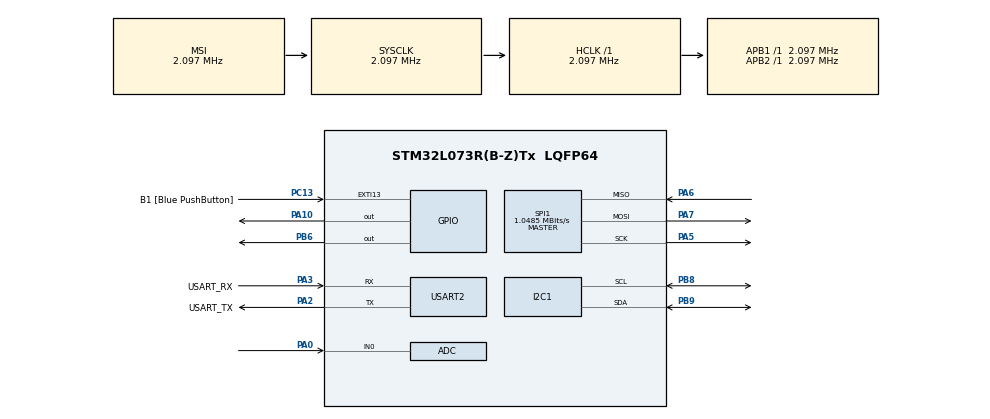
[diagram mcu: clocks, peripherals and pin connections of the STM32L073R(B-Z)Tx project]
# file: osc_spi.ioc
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Mcu.Family=STM32L0
Mcu.Name=STM32L073R(B-Z)Tx
Mcu.Package=LQFP64
PA0.Mode=IN0
PA0.Signal=ADC_IN0
PA10.Signal=GPIO_Output
PA13.GPIO_Label=TMS
PA13.Mode=Serial_Wire
PA13.Signal=SYS_SWDIO
PA14.GPIO_Label=TCK
PA14.Mode=Serial_Wire
PA14.Signal=SYS_SWCLK
PA2.GPIO_Label=USART_TX
PA2.Mode=Asynchronous
PA2.Signal=USART2_TX
PA3.GPIO_Label=USART_RX
PA3.Mode=Asynchronous
PA3.Signal=USART2_RX
PA5.Mode=Full_Duplex_Master
PA5.Signal=SPI1_SCK
PA6.Mode=Full_Duplex_Master
PA6.Signal=SPI1_MISO
PA7.Mode=Full_Duplex_Master
PA7.Signal=SPI1_MOSI
PB6.Signal=GPIO_Output
PB8.Mode=I2C
PB8.Signal=I2C1_SCL
PB9.Mode=I2C
PB9.Signal=I2C1_SDA
PC13.GPIO_Label=B1 [Blue PushButton]
PC13.GPIO_ModeDefaultEXTI=GPIO_MODE_IT_FALLING
PC13.Signal=GPXTI13
PC14-OSC32_IN.Mode=LSE-External-Oscillator
PC14-OSC32_IN.Signal=RCC_OSC32_IN
PC15-OSC32_OUT.Mode=LSE-External-Oscillator
PC15-OSC32_OUT.Signal=RCC_OSC32_OUT
PH0-OSC_IN.GPIO_Label=MCO
PH0-OSC_IN.Mode=HSE-External-Clock-Source
PH0-OSC_IN.Signal=RCC_OSC_IN
ProjectManager.HeapSize=0x200
ProjectManager.StackSize=0x400
ProjectManager.TargetToolchain=STM32CubeIDE
RCC.AHBFreq_Value=2097000
RCC.APB1Freq_Value=2097000
RCC.APB1TimFreq_Value=2097000
RCC.APB2Freq_Value=2097000
RCC.APB2TimFreq_Value=2097000
RCC.HSE_VALUE=8000000
RCC.HSI16_VALUE=16000000
RCC.HSI48_VALUE=48000000
RCC.HSI_VALUE=16000000
RCC.MSI_VALUE=2097000
RCC.SYSCLKFreq_VALUE=2097000
RCC.VCOOutputFreq_Value=48000000
SPI1.BaudRatePrescaler=SPI_BAUDRATEPRESCALER_2
SPI1.CLKPhase=SPI_PHASE_1EDGE
SPI1.CLKPolarity=SPI_POLARITY_LOW
SPI1.CalculateBaudRate=1.0485 MBits/s
SPI1.Direction=SPI_DIRECTION_2LINES
SPI1.Mode=SPI_MODE_MASTER
SPI1.VirtualType=VM_MASTER
USART2.Parity=PARITY_NONE
USART2.VirtualMode-Asynchronous=VM_ASYNC
USART2.WordLength=WORDLENGTH_8B
board=NUCLEO-L073RZ

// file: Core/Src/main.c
/* USER CODE BEGIN Header */
/**
  ******************************************************************************
  * @file           : main.c
  * @brief          : Main program body
  ******************************************************************************
  * @attention
  *
  * Copyright (c) 2022 STMicroelectronics.
  * All rights reserved.
  *
  * This software is licensed under terms that can be found in the LICENSE file
  * in the root directory of this software component.
  * If no LICENSE file comes with this software, it is provided AS-IS.
  *
  ******************************************************************************
  */
/* USER CODE END Header */
#include "main.h"

/* USER CODE BEGIN Includes */
#include <stdio.h>
#include <stdlib.h>
#include <string.h>
/* USER CODE END Includes */

/* USER CODE BEGIN PM */

// Functions for the Oscillator
void osc_write_to_register(uint8_t REG, uint8_t VAL);	// Writes given value to given register
void osc_read_register(uint8_t REG, char NAME[20]);		// Reads contents from the given register
void osc_init();										// Initializes the oscillator's registers
void osc_config_reg_values(uint16_t ND);				// Configures oscillator values for the ADC sweep
void osc_print_register_contents();						// Print contents/values of all the registers

// Functions for ToF
int ToF_distance(uint8_t *i2c_buf);
int ToF_temperature(uint8_t *i2c_buf);

// Functions for the ADC
uint16_t ADC_output();
float ADC_voltage(uint16_t adc_value);
void ADC_print_output(uint16_t adc_value, float adc_voltage);
void ADC_print_sweep(int *adc_value, float *adc_voltage, int num_bins, uint16_t N, float f, float RSBW);

/* USER CODE END PM */

ADC_HandleTypeDef hadc;

I2C_HandleTypeDef hi2c1;

SPI_HandleTypeDef hspi1;

UART_HandleTypeDef huart2;

/* USER CODE BEGIN PV */

/* Global Constants ----------------------------------------------------------*/

// For ADC
char raw_adc_str[20];		// string printed to Serial to see ADC values

// For SPI
char spi_buf[20];			// SPI buffer

// For UART Transmit/Receive
char uart_buf[50];			// UART Buffer
int uart_buf_len;			// Stores UART buffer length

// For ToF
const uint8_t TFmini_ADDR_W = 0x10 << 1;
const uint8_t TFmini_ADDR_R = 0b00100001;
const uint8_t REG_DISTANCE = 0xDB;
const uint8_t TOF_REQ_FRAME[5] = {0x5A,0x05,0x00,0x01,0x60};   // I2C CM command

/* Oscillator Register Globals */

// Read Addresses
const uint8_t R_REG0 = 0b00000001;
const uint8_t R_REG1 = 0b00000011;
const uint8_t R_REG2 = 0b00000101;
const uint8_t R_REG3 = 0b00000111;
const uint8_t R_REG4 = 0b00001001;
const uint8_t R_REG5 = 0b00001011;
const uint8_t R_REG6 = 0b00001101;
const uint8_t R_REG7 = 0b00001111;
const uint8_t R_REG8 = 0b00010001;
const uint8_t R_REG9 = 0b00010011;
const uint8_t R_REGA = 0b00010101;
const uint8_t R_REGB = 0b00010111;
const uint8_t R_REGC = 0b00011001;
const uint8_t R_REGD = 0b00011011;
const uint8_t R_REGE = 0b00011111;

// Write Addresses
const uint8_t W_REG0 = 0b00000000;
const uint8_t W_REG1 = 0b00000010;
const uint8_t W_REG2 = 0b00000100;
const uint8_t W_REG3 = 0b00000110;
const uint8_t W_REG4 = 0b00001000;
const uint8_t W_REG5 = 0b00001010;
const uint8_t W_REG6 = 0b00001100;
const uint8_t W_REG7 = 0b00001110;
const uint8_t W_REG8 = 0b00010000;
const uint8_t W_REG9 = 0b00010010;
const uint8_t W_REGA = 0b00010100;
const uint8_t W_REGB = 0b00010110;
const uint8_t W_REGC = 0b00011000;
const uint8_t W_REGD = 0b00011010;
const uint8_t W_REGE = 0b00011110;

// Register Values
const uint8_t VAL_REG1 = 0x04;
const uint8_t VAL_REG2 = 0x04;
const uint8_t VAL_REG3 = 0x3F;
const uint8_t VAL_REG4 = 0x57;
const uint8_t VAL_REG5 = 0x11;
const uint8_t VAL_REG6 = 96;
const uint8_t VAL_REG7 = 80;
const uint8_t VAL_REG8 = 0x3F;
const uint8_t VAL_REG9 = 0xFF;
const uint8_t VAL_REGA = 0xF0;
const uint8_t VAL_REGB = 0x1A;
const uint8_t VAL_REGC = 0b10111111;
const uint8_t VAL_REGD = 0b00000000;

/* USER CODE END PV */

void SystemClock_Config(void);
static void MX_GPIO_Init(void);
static void MX_USART2_UART_Init(void);
static void MX_SPI1_Init(void);
static void MX_ADC_Init(void);
static void MX_I2C1_Init(void);

int main(void)
{
  /* USER CODE BEGIN 1 */
	uint8_t i2c_buf[12];
  /* USER CODE END 1 */

  /* MCU Configuration--------------------------------------------------------*/

  /* Reset of all peripherals, Initializes the Flash interface and the Systick. */
  HAL_Init();

  /* USER CODE BEGIN Init */

  for(int i=0; i<20; i++)
  {
	  spi_buf[i] = 'a';
  }
  /* USER CODE END Init */

  /* Configure the system clock */
  SystemClock_Config();

  /* Initialize all configured peripherals */
  MX_GPIO_Init();
  MX_USART2_UART_Init();
  MX_SPI1_Init();
  MX_ADC_Init();
  MX_I2C1_Init();
  /* USER CODE BEGIN 2 */

  /* BEGIN OSCILLATOR SECTION -----------------------------------------------------*/

//  uart_buf_len = sprintf(uart_buf, "/* Oscillator Code ---------*/ \r\n");
//  HAL_UART_Transmit(&huart2, (uint8_t *)uart_buf, uart_buf_len, 100);

  // Set oscillator initial values
  osc_init();

  // Read register values
  osc_print_register_contents();

  // HAL_UART_Transmit(&huart2, (uint8_t *)uart_buf, uart_buf_len, 100);

  /* END OSCILLATOR SECTION -----------------------------------------------------*/

  /* USER CODE END 2 */

  /* Infinite loop */
  /* USER CODE BEGIN WHILE */

  /* BEGIN ADC SECTION ---------------------------------------------------------*/

//  uart_buf_len = sprintf(uart_buf, "/* ADC Code ---------*/ \r\n");
//  HAL_UART_Transmit(&huart2, (uint8_t *)uart_buf, uart_buf_len, 100);

  int num_bins = 36; 						// Number of bins or "chunks"
  uint16_t N = 494;							// Value of ND[]
  int num_samples = 100; 					// Number of ADC samples
  int adc_value = 0;						// Output of the 12-bit ADC (range: 0 to 4095)
  int data_buffer_size = num_bins + 3;
  int data_buffer[data_buffer_size]; 		// Average of ADC Readings

  // Initialize arrays
  for (int i=0; i<data_buffer_size; i++)
  {
	  data_buffer[i] = (i==0)? -2 : 0;
     // -2 is the identifier bit which tells the receiver over serial that (...)
     // the beginning of the data buffer is being transmitter
  }

  // Calibrate ADC
  while(HAL_ADCEx_Calibration_Start(&hadc, ADC_SINGLE_ENDED) != HAL_OK);

  while (1)
  {
    /* USER CODE END WHILE */

    /* USER CODE BEGIN 3 */

	  /*** Get distance from ToF ***/
	  data_buffer[1] = ToF_distance(i2c_buf);
	  data_buffer[2] = ToF_temperature(i2c_buf);

	  /*** Sweep the Oscillator ***/
	  N = 494;

	  // Sweep the Oscillator
	  for (int i=3; i<data_buffer_size; i++)
	  {
		  osc_config_reg_values(N);
		  adc_value = 0;
		  HAL_Delay(1);

		  // Take samples and get the average
	      for (int k=0; k<num_samples; k++)
	      {
	      	 adc_value += (int)ADC_output();
	      }

	      data_buffer[i] = adc_value/num_samples;
	      N += 1;
	  }

	  // Print ADC swept values
	  for (int k=0; k<data_buffer_size; k++)
	  {
		  sprintf(raw_adc_str, "%i\r\n", data_buffer[k]);
		  HAL_UART_Transmit(&huart2, (uint8_t *)raw_adc_str, strlen(raw_adc_str), 100);
	  }

	  // This is just a delay so that the serial monitor does not move too fast
	  // This delay should be deleted later on, after testing
	  // ** When using the scope, make the delay small, like 1 or 10
	  // HAL_Delay(1000);
  }
  /* USER CODE END 3 */
}

void SystemClock_Config(void)
{
  RCC_OscInitTypeDef RCC_OscInitStruct = {0};
  RCC_ClkInitTypeDef RCC_ClkInitStruct = {0};
  RCC_PeriphCLKInitTypeDef PeriphClkInit = {0};

  /** Configure the main internal regulator output voltage
  */
  __HAL_PWR_VOLTAGESCALING_CONFIG(PWR_REGULATOR_VOLTAGE_SCALE1);

  /** Initializes the RCC Oscillators according to the specified parameters
  * in the RCC_OscInitTypeDef structure.
  */
  RCC_OscInitStruct.OscillatorType = RCC_OSCILLATORTYPE_MSI;
  RCC_OscInitStruct.MSIState = RCC_MSI_ON;
  RCC_OscInitStruct.MSICalibrationValue = 0;
  RCC_OscInitStruct.MSIClockRange = RCC_MSIRANGE_5;
  RCC_OscInitStruct.PLL.PLLState = RCC_PLL_NONE;
  if (HAL_RCC_OscConfig(&RCC_OscInitStruct) != HAL_OK)
  {
    Error_Handler();
  }

  /** Initializes the CPU, AHB and APB buses clocks
  */
  RCC_ClkInitStruct.ClockType = RCC_CLOCKTYPE_HCLK|RCC_CLOCKTYPE_SYSCLK
                              |RCC_CLOCKTYPE_PCLK1|RCC_CLOCKTYPE_PCLK2;
  RCC_ClkInitStruct.SYSCLKSource = RCC_SYSCLKSOURCE_MSI;
  RCC_ClkInitStruct.AHBCLKDivider = RCC_SYSCLK_DIV1;
  RCC_ClkInitStruct.APB1CLKDivider = RCC_HCLK_DIV1;
  RCC_ClkInitStruct.APB2CLKDivider = RCC_HCLK_DIV1;

  if (HAL_RCC_ClockConfig(&RCC_ClkInitStruct, FLASH_LATENCY_0) != HAL_OK)
  {
    Error_Handler();
  }
  PeriphClkInit.PeriphClockSelection = RCC_PERIPHCLK_USART2|RCC_PERIPHCLK_I2C1;
  PeriphClkInit.Usart2ClockSelection = RCC_USART2CLKSOURCE_PCLK1;
  PeriphClkInit.I2c1ClockSelection = RCC_I2C1CLKSOURCE_PCLK1;
  if (HAL_RCCEx_PeriphCLKConfig(&PeriphClkInit) != HAL_OK)
  {
    Error_Handler();
  }
}

static void MX_ADC_Init(void)
{

  ADC_ChannelConfTypeDef sConfig = {0};

  /** Configure the global features of the ADC (Clock, Resolution, Data Alignment and number of conversion)
  */
  hadc.Instance = ADC1;
  hadc.Init.OversamplingMode = DISABLE;
  hadc.Init.ClockPrescaler = ADC_CLOCK_SYNC_PCLK_DIV1;
  hadc.Init.Resolution = ADC_RESOLUTION_12B;
  hadc.Init.SamplingTime = ADC_SAMPLETIME_1CYCLE_5;
  hadc.Init.ScanConvMode = ADC_SCAN_DIRECTION_FORWARD;
  hadc.Init.DataAlign = ADC_DATAALIGN_RIGHT;
  hadc.Init.ContinuousConvMode = DISABLE;
  hadc.Init.DiscontinuousConvMode = DISABLE;
  hadc.Init.ExternalTrigConvEdge = ADC_EXTERNALTRIGCONVEDGE_NONE;
  hadc.Init.ExternalTrigConv = ADC_SOFTWARE_START;
  hadc.Init.DMAContinuousRequests = DISABLE;
  hadc.Init.EOCSelection = ADC_EOC_SINGLE_CONV;
  hadc.Init.Overrun = ADC_OVR_DATA_PRESERVED;
  hadc.Init.LowPowerAutoWait = DISABLE;
  hadc.Init.LowPowerFrequencyMode = ENABLE;
  hadc.Init.LowPowerAutoPowerOff = DISABLE;
  if (HAL_ADC_Init(&hadc) != HAL_OK)
  {
    Error_Handler();
  }

  /** Configure for the selected ADC regular channel to be converted.
  */
  sConfig.Channel = ADC_CHANNEL_0;
  sConfig.Rank = ADC_RANK_CHANNEL_NUMBER;
  if (HAL_ADC_ConfigChannel(&hadc, &sConfig) != HAL_OK)
  {
    Error_Handler();
  }

}

static void MX_I2C1_Init(void)
{

  hi2c1.Instance = I2C1;
  hi2c1.Init.Timing = 0x00000708;
  hi2c1.Init.OwnAddress1 = 0;
  hi2c1.Init.AddressingMode = I2C_ADDRESSINGMODE_7BIT;
  hi2c1.Init.DualAddressMode = I2C_DUALADDRESS_DISABLE;
  hi2c1.Init.OwnAddress2 = 0;
  hi2c1.Init.OwnAddress2Masks = I2C_OA2_NOMASK;
  hi2c1.Init.GeneralCallMode = I2C_GENERALCALL_DISABLE;
  hi2c1.Init.NoStretchMode = I2C_NOSTRETCH_DISABLE;
  if (HAL_I2C_Init(&hi2c1) != HAL_OK)
  {
    Error_Handler();
  }

  /** Configure Analogue filter
  */
  if (HAL_I2CEx_ConfigAnalogFilter(&hi2c1, I2C_ANALOGFILTER_ENABLE) != HAL_OK)
  {
    Error_Handler();
  }

  /** Configure Digital filter
  */
  if (HAL_I2CEx_ConfigDigitalFilter(&hi2c1, 0) != HAL_OK)
  {
    Error_Handler();
  }

}

static void MX_SPI1_Init(void)
{

  /* SPI1 parameter configuration*/
  hspi1.Instance = SPI1;
  hspi1.Init.Mode = SPI_MODE_MASTER;
  hspi1.Init.Direction = SPI_DIRECTION_2LINES;
  hspi1.Init.DataSize = SPI_DATASIZE_8BIT;
  hspi1.Init.CLKPolarity = SPI_POLARITY_LOW;
  hspi1.Init.CLKPhase = SPI_PHASE_1EDGE;
  hspi1.Init.NSS = SPI_NSS_SOFT;
  hspi1.Init.BaudRatePrescaler = SPI_BAUDRATEPRESCALER_2;
  hspi1.Init.FirstBit = SPI_FIRSTBIT_MSB;
  hspi1.Init.TIMode = SPI_TIMODE_DISABLE;
  hspi1.Init.CRCCalculation = SPI_CRCCALCULATION_DISABLE;
  hspi1.Init.CRCPolynomial = 7;
  if (HAL_SPI_Init(&hspi1) != HAL_OK)
  {
    Error_Handler();
  }

}

static void MX_USART2_UART_Init(void)
{

  huart2.Instance = USART2;
  huart2.Init.BaudRate = 115200;
  huart2.Init.WordLength = UART_WORDLENGTH_8B;
  huart2.Init.StopBits = UART_STOPBITS_1;
  huart2.Init.Parity = UART_PARITY_NONE;
  huart2.Init.Mode = UART_MODE_TX_RX;
  huart2.Init.HwFlowCtl = UART_HWCONTROL_NONE;
  huart2.Init.OverSampling = UART_OVERSAMPLING_16;
  huart2.Init.OneBitSampling = UART_ONE_BIT_SAMPLE_DISABLE;
  huart2.AdvancedInit.AdvFeatureInit = UART_ADVFEATURE_NO_INIT;
  if (HAL_UART_Init(&huart2) != HAL_OK)
  {
    Error_Handler();
  }

}

static void MX_GPIO_Init(void)
{
  GPIO_InitTypeDef GPIO_InitStruct = {0};

  /* GPIO Ports Clock Enable */
  __HAL_RCC_GPIOC_CLK_ENABLE();
  __HAL_RCC_GPIOH_CLK_ENABLE();
  __HAL_RCC_GPIOA_CLK_ENABLE();
  __HAL_RCC_GPIOB_CLK_ENABLE();

  /*Configure GPIO pin Output Level */
  HAL_GPIO_WritePin(GPIOA, GPIO_PIN_10, GPIO_PIN_RESET);

  /*Configure GPIO pin Output Level */
  HAL_GPIO_WritePin(GPIOB, GPIO_PIN_6, GPIO_PIN_RESET);

  /*Configure GPIO pin : B1_Pin */
  GPIO_InitStruct.Pin = B1_Pin;
  GPIO_InitStruct.Mode = GPIO_MODE_IT_FALLING;
  GPIO_InitStruct.Pull = GPIO_NOPULL;
  HAL_GPIO_Init(B1_GPIO_Port, &GPIO_InitStruct);

  /*Configure GPIO pin : PA10 */
  GPIO_InitStruct.Pin = GPIO_PIN_10;
  GPIO_InitStruct.Mode = GPIO_MODE_OUTPUT_PP;
  GPIO_InitStruct.Pull = GPIO_NOPULL;
  GPIO_InitStruct.Speed = GPIO_SPEED_FREQ_LOW;
  HAL_GPIO_Init(GPIOA, &GPIO_InitStruct);

  /*Configure GPIO pin : PB6 */
  GPIO_InitStruct.Pin = GPIO_PIN_6;
  GPIO_InitStruct.Mode = GPIO_MODE_OUTPUT_PP;
  GPIO_InitStruct.Pull = GPIO_NOPULL;
  GPIO_InitStruct.Speed = GPIO_SPEED_FREQ_LOW;
  HAL_GPIO_Init(GPIOB, &GPIO_InitStruct);

}

/* USER CODE BEGIN 4 */

void osc_write_to_register(uint8_t REG, uint8_t VAL)
{
   /*
	*  This function writes VAL to the contents of REG
	*
	*/

	uint8_t tx_data[2];

	tx_data[0] = REG;
	tx_data[1] = VAL;

	HAL_GPIO_WritePin(GPIOB, GPIO_PIN_6, GPIO_PIN_RESET);
	HAL_SPI_Transmit(&hspi1, (uint8_t *)tx_data, 2, 100);
	HAL_GPIO_WritePin(GPIOB, GPIO_PIN_6, GPIO_PIN_SET);
}

void osc_read_register(uint8_t REG, char NAME[20])
{
   /*
	*  This function reads the contents of REG
	*
	*/

	uint8_t tx_data[2];
	uint8_t rx_data[2];

	tx_data[0] = REG;
	tx_data[1] = 0;
	rx_data[0] = 0;
	rx_data[1] = 0;

	HAL_GPIO_WritePin(GPIOB, GPIO_PIN_6, GPIO_PIN_RESET);
	HAL_SPI_TransmitReceive(&hspi1, (uint8_t *)tx_data, rx_data, 2, 100);
	HAL_GPIO_WritePin(GPIOB, GPIO_PIN_6, GPIO_PIN_SET);

	uart_buf_len = sprintf(uart_buf, "%s Value: 0x%02x\r\n", NAME, (unsigned int)rx_data[1]);
	HAL_UART_Transmit(&huart2, (uint8_t *)uart_buf, uart_buf_len, 100);
}

void osc_init()
{
   /*
	*  This function initializes the register values of the oscillator
	*
	*/

	HAL_GPIO_WritePin(GPIOB, GPIO_PIN_6, GPIO_PIN_SET); // Sets CS pin high

	osc_write_to_register(W_REG1, VAL_REG1);
	osc_write_to_register(W_REG2, VAL_REG2);
	osc_write_to_register(W_REG4, VAL_REG4);
	osc_write_to_register(W_REG5, VAL_REG5);
	osc_write_to_register(W_REG6, VAL_REG6);
	osc_write_to_register(W_REG7, VAL_REG7);
	osc_write_to_register(W_REG8, VAL_REG8);
	osc_write_to_register(W_REG9, VAL_REG9);
	osc_write_to_register(W_REGA, VAL_REGA);
	osc_write_to_register(W_REGB, VAL_REGB);
	osc_write_to_register(W_REGC, VAL_REGC);
	osc_write_to_register(W_REGD, VAL_REGD);
	osc_write_to_register(W_REG3, VAL_REG3); // autocal at the end of rest of registers

}

void osc_config_reg_values(uint16_t ND) {
	uint16_t VAL_REG6_16BITS = VAL_REG6;
	uint8_t VAL_REG6_NEW = 0;
	uint8_t VAL_REG7_NEW = 0;
	uint16_t ND_9to8 = 0;

	// Extract ND[7:0] and insert into Register 7
	VAL_REG7_NEW = ND & (0b0000000011111111);

	// Extract ND[9:8] and insert into Register 6
	ND_9to8 = ND >> 8;
	VAL_REG6_16BITS = VAL_REG6_16BITS & (0b0000000011111100);
	VAL_REG6_NEW = VAL_REG6_16BITS | ND_9to8;

	// Write new values to registers
	osc_write_to_register(W_REG6, VAL_REG6_NEW);
	osc_write_to_register(W_REG7, VAL_REG7_NEW);
}

void osc_print_register_contents()
{
   /*
	*  This function prints the contents of ALL registers
	*
	*/

	osc_read_register(R_REG0, "REG0");
	osc_read_register(R_REG1, "REG1");
	osc_read_register(R_REG2, "REG2");
	osc_read_register(R_REG3, "REG3");
	osc_read_register(R_REG4, "REG4");
	osc_read_register(R_REG5, "REG5");
	osc_read_register(R_REG6, "REG6");
	osc_read_register(R_REG7, "REG7");
	osc_read_register(R_REG8, "REG8");
	osc_read_register(R_REG9, "REG9");
	osc_read_register(R_REGA, "REGA");
	osc_read_register(R_REGB, "REGB");
	osc_read_register(R_REGC, "REGC");
	osc_read_register(R_REGD, "REGD");
}

int ToF_distance(uint8_t *i2c_buf)
{
	HAL_StatusTypeDef ret;
	i2c_buf[0] = REG_DISTANCE;
	ret = HAL_I2C_Master_Transmit(&hi2c1, TFmini_ADDR_W, TOF_REQ_FRAME, 5, HAL_MAX_DELAY);

	// Read 9 bytes from TFmini
	ret = HAL_I2C_Master_Receive(&hi2c1, TFmini_ADDR_R, i2c_buf, 9, HAL_MAX_DELAY);

	// Get distance
	uint16_t d = i2c_buf[2] + (i2c_buf[3] << 8);

	// if d = 0cm, change it to 1cm to not mess with our EIRP calculations
	if (d == 0)
	{
		d = 1;
	}

	return ((int)d);
}

int ToF_temperature(uint8_t *i2c_buf)
{
	HAL_StatusTypeDef ret;
	i2c_buf[0] = REG_DISTANCE;
	ret = HAL_I2C_Master_Transmit(&hi2c1, TFmini_ADDR_W, TOF_REQ_FRAME, 5, HAL_MAX_DELAY);

	// Read 9 bytes from TFmini
	ret = HAL_I2C_Master_Receive(&hi2c1, TFmini_ADDR_R, i2c_buf, 9, HAL_MAX_DELAY);

	// Get temperature
	uint16_t temp = i2c_buf[ 6] + ( i2c_buf[ 7] << 8);
	temp = ( temp >> 3) - 256;

	return ((int)temp);
}

uint16_t ADC_output()
{
	/*
	 *  This function returns the output of the ADC
	 *  The output of the ADC ranges from 0 to 4096 since it has 12-bits of resolution
	 *  V_REF = 3.3 Volts for our Nucleo board
	 *
	 */

	 HAL_ADC_Start(&hadc);
	 HAL_ADC_PollForConversion(&hadc, HAL_MAX_DELAY);
	 return HAL_ADC_GetValue(&hadc);
}

float ADC_voltage(uint16_t adc_value)
{
   /*
	*  This function returns the voltage corresponding to the ADC output value
	*
	*/

	float voltage = 1.0 * adc_value/4096 * 3.3;
	return voltage;
}

void ADC_print_output(uint16_t adc_value, float adc_voltage)
{
   /*
	*  This function prints the ADC output and voltage
	*
	*/

	sprintf(raw_adc_str, "ADC Reading: %hu --> Voltage: %f V\r\n", adc_value, adc_voltage);
	HAL_UART_Transmit(&huart2, (uint8_t *)raw_adc_str, strlen(raw_adc_str), 100);
}

void ADC_print_sweep(int *adc_value, float *adc_voltage, int num_bins, uint16_t N, float f, float RSBW)
{
   /*
	* This function prints the swept values of the ADC across the oscillator
	*
	*/

	sprintf(raw_adc_str, "--------------------------\r\n");
	HAL_UART_Transmit(&huart2, (uint8_t *)raw_adc_str, strlen(raw_adc_str), 100);

	float freq = f;

	for (int i=0; i<num_bins; i++)
	{
		sprintf(raw_adc_str, "ND=%i: %f MHz --> ADC Reading: %i --> Voltage: %f V\r\n",
				N, freq, adc_value[i], adc_voltage[i]);
		HAL_UART_Transmit(&huart2, (uint8_t *)raw_adc_str, strlen(raw_adc_str), 100);

		freq += RSBW;
		N += 1;
	}
}

/* USER CODE END 4 */

void Error_Handler(void)
{
  __disable_irq();
  while (1)
  {
  }
}
